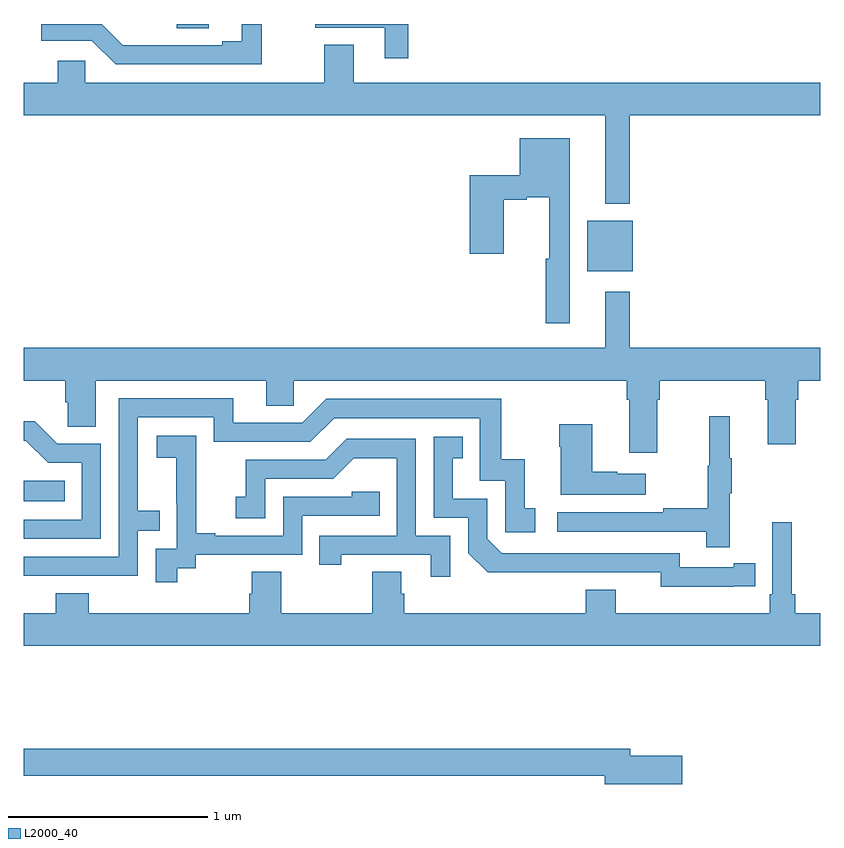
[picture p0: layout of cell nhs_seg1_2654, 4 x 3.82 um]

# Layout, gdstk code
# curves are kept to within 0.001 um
import gdstk
lib = gdstk.Library(unit=1e-6, precision=1e-09)
def R(c, l, rs):  # rectangles x0, y0, x1, y1
    for r in rs: c.add(gdstk.rectangle(r[:2], r[2:], *l))
def P(c, l, *ps):  # polygons
    for p in ps: c.add(gdstk.Polygon(p, *l))
L2000_40 = (2000, 40)

nhs_seg1_2654 = lib.new_cell('nhs_seg1_2654')
R(nhs_seg1_2654, L2000_40, [(255,541.802,255.206,541.906), (257.831,542.957,258.058,543.211), (255.768,544.177,255.928,544.199)])
P(nhs_seg1_2654, L2000_40, [(256.196,544.199),(256.094,544.199),(256.094,544.112),(255.998,544.112),(255.998,544.092),(255.498,544.092),(255.391,544.199),(255.087,544.199),(255.087,544.116),(255.342,544.116),(255.462,543.996),(256.196,543.996)],
  [(256.931,544.199),(256.465,544.199),(256.465,544.179),(256.814,544.179),(256.814,544.026),(256.931,544.026)],
  [(258.043,543.74),(259,543.74),(259,543.904),(256.657,543.904),(256.657,544.094),(256.51,544.094),(256.51,543.904),(255.309,543.904),(255.309,544.014),(255.17,544.014),(255.17,543.904),(255,543.904),(255,543.74),(257.921,543.74),(257.921,543.296),(258.043,543.296)],
  [(257.743,543.625),(257.492,543.625),(257.492,543.439),(257.24,543.439),(257.24,543.045),(257.41,543.045),(257.41,543.317),(257.525,543.317),(257.525,543.329),(257.639,543.329),(257.639,543.021),(257.622,543.021),(257.622,542.697),(257.743,542.697)],
  [(257.921,542.572),(255,542.572),(255,542.408),(255.209,542.408),(255.209,542.299),(255.222,542.299),(255.222,542.176),(255.361,542.176),(255.361,542.408),(256.217,542.408),(256.217,542.281),(256.356,542.281),(256.356,542.408),(258.029,542.408),(258.029,542.312),(258.041,542.312),(258.041,542.046),(258.181,542.046),(258.181,542.312),(258.194,542.312),(258.194,542.408),(258.725,542.408),(258.725,542.312),(258.737,542.312),(258.737,542.088),(258.877,542.088),(258.877,542.312),(258.89,542.312),(258.89,542.408),(259,542.408),(259,542.572),(258.043,542.572),(258.043,542.854),(257.921,542.854)],
  [(255.077,541.428),(255.573,541.428),(255.573,541.653),(255.683,541.653),(255.683,541.754),(255.573,541.754),(255.573,542.223),(255.954,542.223),(255.954,542.1),(256.44,542.1),(256.56,542.22),(257.289,542.22),(257.289,541.905),(257.418,541.905),(257.418,541.647),(257.569,541.647),(257.569,541.767),(257.516,541.767),(257.516,542.014),(257.398,542.014),(257.398,542.316),(256.518,542.316),(256.398,542.196),(256.051,542.196),(256.051,542.319),(255.477,542.319),(255.477,541.524),(255,541.524),(255,541.427)],
  [(258.545,541.843),(258.556,541.843),(258.556,542.017),(258.545,542.017),(258.545,542.23),(258.442,542.23),(258.442,541.98),(258.435,541.98),(258.435,541.766),(258.211,541.766),(258.211,541.746),(257.679,541.746),(257.679,541.65),(258.427,541.65),(258.427,541.572),(258.545,541.572)],
  [(255.387,542.091),(255.168,542.091),(255.055,542.204),(255,542.204),(255,542.106),(255.011,542.106),(255.122,541.995),(255.291,541.995),(255.291,541.71),(255,541.71),(255,541.614),(255.387,541.614)],
  [(258.124,541.939),(257.981,541.939),(257.981,541.949),(257.854,541.949),(257.854,542.188),(257.689,542.188),(257.689,542.075),(257.696,542.075),(257.696,541.835),(258.124,541.835)],
  [(255.772,541.465),(255.864,541.465),(255.864,541.533),(256.398,541.533),(256.398,541.728),(256.787,541.728),(256.787,541.851),(256.647,541.851),(256.647,541.824),(256.302,541.824),(256.302,541.629),(255.961,541.629),(255.961,541.642),(255.866,541.642),(255.866,541.925),(255.867,541.925),(255.867,542.131),(255.669,542.131),(255.669,542.021),(255.767,542.021),(255.767,541.793),(255.768,541.793),(255.768,541.563),(255.663,541.563),(255.663,541.395),(255.772,541.395)],
  [(258.566,541.374),(258.674,541.374),(258.674,541.49),(258.566,541.49),(258.566,541.47),(258.294,541.47),(258.294,541.542),(257.4,541.542),(257.328,541.614),(257.328,541.815),(257.155,541.815),(257.155,542.019),(257.204,542.019),(257.204,542.125),(257.058,542.125),(257.058,541.719),(257.232,541.719),(257.232,541.542),(257.33,541.445),(258.198,541.446),(258.198,541.373)],
  [(257.142,541.629),(256.968,541.629),(256.968,542.115),(256.622,542.115),(256.517,542.01),(256.114,542.01),(256.114,541.825),(256.065,541.825),(256.065,541.716),(256.212,541.716),(256.212,541.914),(256.554,541.914),(256.658,542.018),(256.872,542.018),(256.872,541.629),(256.483,541.629),(256.483,541.482),(256.594,541.482),(256.594,541.533),(257.045,541.533),(257.045,541.422),(257.142,541.422)],
  [(259,541.24),(258.875,541.24),(258.875,541.336),(258.856,541.336),(258.856,541.696),(258.759,541.696),(258.759,541.336),(258.746,541.336),(258.746,541.24),(257.974,541.24),(257.974,541.357),(257.822,541.357),(257.822,541.24),(256.91,541.24),(256.91,541.338),(256.897,541.338),(256.897,541.448),(256.75,541.448),(256.75,541.24),(256.293,541.24),(256.293,541.448),(256.145,541.448),(256.145,541.338),(256.133,541.338),(256.133,541.24),(255.326,541.24),(255.326,541.339),(255.161,541.339),(255.161,541.24),(255,541.24),(255,541.076),(259,541.076)],
  [(258.307,540.524),(258.046,540.524),(258.046,540.56),(255,540.56),(255,540.424),(257.918,540.424),(257.918,540.382),(258.307,540.382)])

lib.write_gds('nhs_seg1_2654.gds')
